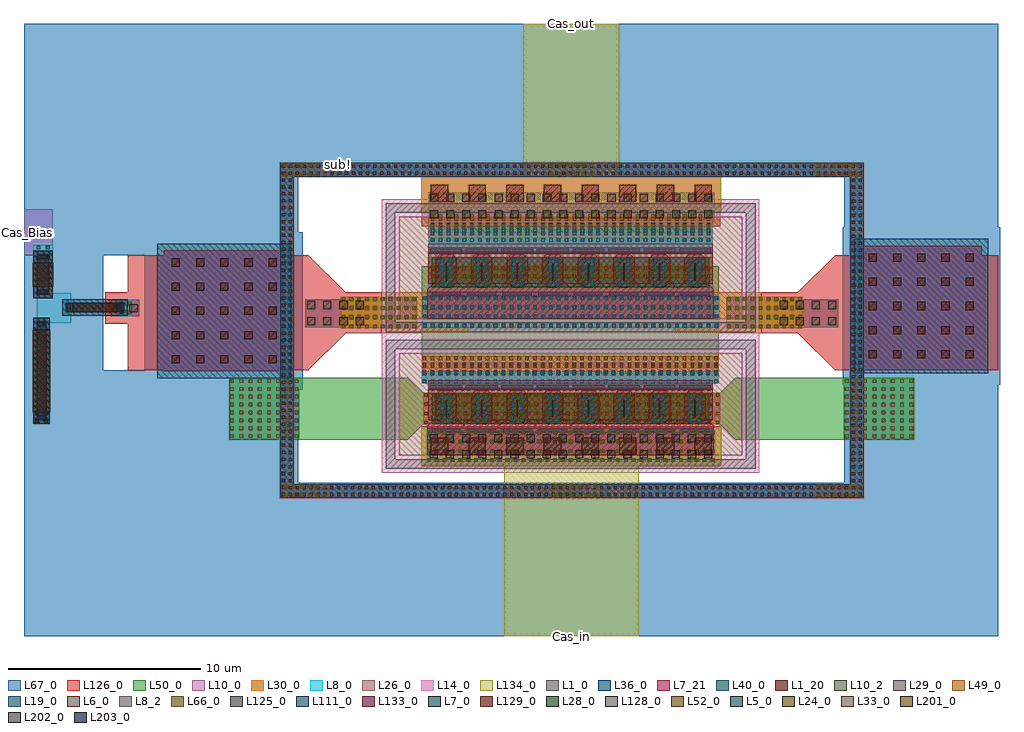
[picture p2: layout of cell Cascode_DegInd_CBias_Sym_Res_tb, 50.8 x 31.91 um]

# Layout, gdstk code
from math import pi, radians
import gdstk
lib = gdstk.Library(unit=1e-6, precision=1e-09)
def R(c, l, rs):  # rectangles x0, y0, x1, y1
    for r in rs: c.add(gdstk.rectangle(r[:2], r[2:], *l))
def A(c, l, x, y, w, h, nx, ny, dx, dy):  # array of equal rectangles
    R(c, l, [(x+i*dx, y+j*dy, x+i*dx+w, y+j*dy+h) for i in range(nx) for j in range(ny)])
def P(c, l, *ps):  # polygons
    for p in ps: c.add(gdstk.Polygon(p, *l))
L1_0 = (1, 0)
L1_20 = (1, 20)
L5_0 = (5, 0)
L6_0 = (6, 0)
L7_0 = (7, 0)
L7_21 = (7, 21)
L8_0 = (8, 0)
L8_2 = (8, 2)
L10_0 = (10, 0)
L10_2 = (10, 2)
L14_0 = (14, 0)
L19_0 = (19, 0)
L24_0 = (24, 0)
L26_0 = (26, 0)
L28_0 = (28, 0)
L29_0 = (29, 0)
L30_0 = (30, 0)
L33_0 = (33, 0)
L36_0 = (36, 0)
L40_0 = (40, 0)
L49_0 = (49, 0)
L50_0 = (50, 0)
L52_0 = (52, 0)
L66_0 = (66, 0)
L67_0 = (67, 0)
L111_0 = (111, 0)
L125_0 = (125, 0)
L126_0 = (126, 0)
L128_0 = (128, 0)
L129_0 = (129, 0)
L133_0 = (133, 0)
L134_0 = (134, 0)
L201_0 = (201, 0)
L202_0 = (202, 0)
L203_0 = (203, 0)

npn13g2 = lib.new_cell('npn13G2')
A(npn13g2, L1_0, -0.925, 0.98, 1.85, 0.3, 8, 1, 1.85, 0)
P(npn13g2, L1_0, [(-3.15,-3.13),(-3.15,3.58),(15.6,3.58),(15.6,3.08),(-2.65,3.08),(-2.65,-2.63),(15.6,-2.63),(15.6,3.58),(16.1,3.58),(16.1,-3.13)])
P(npn13g2, L1_20, [(-0.235,-0.83),(-0.445,-0.62),(-0.925,-0.62),(-0.925,0.98),(0.925,0.98),(0.925,-0.62),(0.445,-0.62),(0.235,-0.83)],
  [(1.615,-0.83),(1.405,-0.62),(0.925,-0.62),(0.925,0.98),(2.775,0.98),(2.775,-0.62),(2.295,-0.62),(2.085,-0.83)],
  [(3.465,-0.83),(3.255,-0.62),(2.775,-0.62),(2.775,0.98),(4.625,0.98),(4.625,-0.62),(4.145,-0.62),(3.935,-0.83)],
  [(5.315,-0.83),(5.105,-0.62),(4.625,-0.62),(4.625,0.98),(6.475,0.98),(6.475,-0.62),(5.995,-0.62),(5.785,-0.83)],
  [(7.165,-0.83),(6.955,-0.62),(6.475,-0.62),(6.475,0.98),(8.325,0.98),(8.325,-0.62),(7.845,-0.62),(7.635,-0.83)],
  [(9.015,-0.83),(8.805,-0.62),(8.325,-0.62),(8.325,0.98),(10.175,0.98),(10.175,-0.62),(9.695,-0.62),(9.485,-0.83)],
  [(10.865,-0.83),(10.655,-0.62),(10.175,-0.62),(10.175,0.98),(12.025,0.98),(12.025,-0.62),(11.545,-0.62),(11.335,-0.83)],
  [(12.715,-0.83),(12.505,-0.62),(12.025,-0.62),(12.025,0.98),(13.875,0.98),(13.875,-0.62),(13.395,-0.62),(13.185,-0.83)])
A(npn13g2, L6_0, -0.76, -1.22, 1.52, 0.16, 8, 1, 1.85, 0)
A(npn13g2, L6_0, -0.825, 1.05, 1.65, 0.16, 8, 1, 1.85, 0)
P(npn13g2, L7_21, [(-0.975,-2.43),(-0.975,-0.9),(-0.555,-0.48),(-0.555,0.69),(-0.305,0.94),(0.305,0.94),(0.555,0.69),(0.555,-0.48),(0.975,-0.9),(0.975,-2.43)],
  [(0.875,-2.43),(0.875,-0.9),(1.295,-0.48),(1.295,0.69),(1.545,0.94),(2.155,0.94),(2.405,0.69),(2.405,-0.48),(2.825,-0.9),(2.825,-2.43)],
  [(2.725,-2.43),(2.725,-0.9),(3.145,-0.48),(3.145,0.69),(3.395,0.94),(4.005,0.94),(4.255,0.69),(4.255,-0.48),(4.675,-0.9),(4.675,-2.43)],
  [(4.575,-2.43),(4.575,-0.9),(4.995,-0.48),(4.995,0.69),(5.245,0.94),(5.855,0.94),(6.105,0.69),(6.105,-0.48),(6.525,-0.9),(6.525,-2.43)],
  [(6.425,-2.43),(6.425,-0.9),(6.845,-0.48),(6.845,0.69),(7.095,0.94),(7.705,0.94),(7.955,0.69),(7.955,-0.48),(8.375,-0.9),(8.375,-2.43)],
  [(8.275,-2.43),(8.275,-0.9),(8.695,-0.48),(8.695,0.69),(8.945,0.94),(9.555,0.94),(9.805,0.69),(9.805,-0.48),(10.225,-0.9),(10.225,-2.43)],
  [(10.125,-2.43),(10.125,-0.9),(10.545,-0.48),(10.545,0.69),(10.795,0.94),(11.405,0.94),(11.655,0.69),(11.655,-0.48),(12.075,-0.9),(12.075,-2.43)],
  [(11.975,-2.43),(11.975,-0.9),(12.395,-0.48),(12.395,0.69),(12.645,0.94),(13.255,0.94),(13.505,0.69),(13.505,-0.48),(13.925,-0.9),(13.925,-2.43)])
A(npn13g2, L8_0, -0.35, -0.785, 0.7, 1.555, 8, 1, 1.85, 0)
R(npn13g2, L8_0, [(-0.975,-1.26,13.925,-1.02), (-0.925,1.02,13.875,1.46)])
R(npn13g2, L8_2, [(-0.975,-1.26,13.925,-1.02), (-0.925,1.02,13.875,1.46)])
R(npn13g2, L10_0, [(-0.925,-0.785,13.875,0.77)])
R(npn13g2, L10_2, [(-0.745,-0.785,13.695,0.77)])
P(npn13g2, L14_0, [(-3.35,-3.33),(-3.35,3.78),(15.4,3.78),(15.4,2.88),(-2.45,2.88),(-2.45,-2.43),(15.4,-2.43),(15.4,3.78),(16.3,3.78),(16.3,-3.33)])
A(npn13g2, L19_0, -0.3, -0.72, 0.19, 0.19, 1, 4, 0, 0.41)
A(npn13g2, L19_0, 0.11, -0.72, 0.19, 0.19, 1, 4, 0, 0.41)
A(npn13g2, L19_0, 1.55, -0.72, 0.19, 0.19, 1, 4, 0, 0.41)
A(npn13g2, L19_0, 1.96, -0.72, 0.19, 0.19, 1, 4, 0, 0.41)
A(npn13g2, L19_0, 3.4, -0.72, 0.19, 0.19, 1, 4, 0, 0.41)
A(npn13g2, L19_0, 3.81, -0.72, 0.19, 0.19, 1, 4, 0, 0.41)
A(npn13g2, L19_0, 5.25, -0.72, 0.19, 0.19, 1, 4, 0, 0.41)
A(npn13g2, L19_0, 5.66, -0.72, 0.19, 0.19, 1, 4, 0, 0.41)
A(npn13g2, L19_0, 7.1, -0.72, 0.19, 0.19, 1, 4, 0, 0.41)
A(npn13g2, L19_0, 7.51, -0.72, 0.19, 0.19, 1, 4, 0, 0.41)
A(npn13g2, L19_0, 8.95, -0.72, 0.19, 0.19, 1, 4, 0, 0.41)
A(npn13g2, L19_0, 9.36, -0.72, 0.19, 0.19, 1, 4, 0, 0.41)
A(npn13g2, L19_0, 10.8, -0.72, 0.19, 0.19, 1, 4, 0, 0.41)
A(npn13g2, L19_0, 11.21, -0.72, 0.19, 0.19, 1, 4, 0, 0.41)
A(npn13g2, L19_0, 12.65, -0.72, 0.19, 0.19, 1, 4, 0, 0.41)
A(npn13g2, L19_0, 13.06, -0.72, 0.19, 0.19, 1, 4, 0, 0.41)
R(npn13g2, L26_0, [(-2.45,-2.43,15.4,2.88)])
A(npn13g2, L33_0, -0.035, -0.45, 0.07, 0.9, 8, 1, 1.85, 0)
npn13g2.add(gdstk.Label('npn13G2', (0.015,2.31), layer=63, texttype=0))
npn13g2.add(gdstk.Label('C', (6.475,1.24), layer=63, texttype=0))
npn13g2.add(gdstk.Label('B', (6.475,-1.14), layer=63, texttype=0))
npn13g2.add(gdstk.Label('E', (6.475,-0.007), layer=63, texttype=0))
npn13g2.add(gdstk.Label('Ae=8*1*0.07*0.90', (-1.977,-2.546), layer=63, texttype=0))

cmim = lib.new_cell('cmim')
R(cmim, L36_0, [(0,0,6.99,6.99)])
R(cmim, L67_0, [(-0.6,-0.6,7.59,7.59)])
R(cmim, L126_0, [(0.345,0.345,6.645,6.645)])
A(cmim, L129_0, 0.765, 0.765, 0.42, 0.42, 5, 5, 1.26, 1.26)

rhigh_cdns_785835985924 = lib.new_cell('rhigh_CDNS_785835985924')
R(rhigh_cdns_785835985924, L5_0, [(0,-0.43,0.655,0), (0,1.245,0.655,1.675)])
R(rhigh_cdns_785835985924, L6_0, [(0.07,-0.36,0.585,-0.2), (0.07,1.445,0.585,1.605)])
R(rhigh_cdns_785835985924, L7_0, [(-0.18,-0.61,0.835,0.18), (-0.18,0,0.835,1.245), (-0.18,0,0.835,1.245), (-0.18,1.065,0.835,1.855)])
R(rhigh_cdns_785835985924, L8_0, [(0.02,-0.41,0.635,-0.15), (0.02,1.395,0.635,1.655)])
R(rhigh_cdns_785835985924, L8_2, [(0.02,-0.41,0.635,-0.15), (0.02,1.395,0.635,1.655)])
R(rhigh_cdns_785835985924, L14_0, [(-0.18,-0.61,0.835,0.18), (-0.18,0,0.835,1.245), (-0.18,0,0.835,1.245), (-0.18,1.065,0.835,1.855)])
R(rhigh_cdns_785835985924, L28_0, [(-0.2,0,0.855,1.245)])
R(rhigh_cdns_785835985924, L52_0, [(0,0,0.655,1.245)])
R(rhigh_cdns_785835985924, L111_0, [(-0.18,-0.61,0.835,0.18), (-0.2,0,0.855,1.245), (-0.18,1.065,0.835,1.855)])
R(rhigh_cdns_785835985924, L128_0, [(0,0,0.655,1.245)])
rhigh_cdns_785835985924.add(gdstk.Label('rhigh r=2.997k', (0.328,0.622), layer=63, texttype=0))
rhigh_cdns_785835985924.add(gdstk.Label('rhigh', (0.328,0.622), layer=52, texttype=0))

m4_m3_cdns_7858359859231 = lib.new_cell('M4_M3_CDNS_7858359859231')
R(m4_m3_cdns_7858359859231, L30_0, [(-0.35,-0.43,0.35,0.43)])
R(m4_m3_cdns_7858359859231, L49_0, [(-0.3,-0.335,-0.11,-0.145), (0.11,-0.335,0.3,-0.145), (-0.3,0.145,-0.11,0.335), (0.11,0.145,0.3,0.335)])
R(m4_m3_cdns_7858359859231, L50_0, [(-0.35,-0.43,0.35,0.43)])

tm1_m5_cdns_785835985920 = lib.new_cell('TM1_M5_CDNS_785835985920')
R(tm1_m5_cdns_785835985920, L67_0, [(-7.45,-0.73,7.45,0.73)])
A(tm1_m5_cdns_785835985920, L125_0, -7.35, -0.63, 0.42, 0.42, 18, 2, 0.84, 0.84)
R(tm1_m5_cdns_785835985920, L126_0, [(-7.77,-1.05,7.77,1.05)])

m5_m4_cdns_785835985921 = lib.new_cell('M5_M4_CDNS_785835985921')
R(m5_m4_cdns_785835985921, L50_0, [(-1.825,-1.535,1.825,1.535)])
A(m5_m4_cdns_785835985921, L66_0, -1.775, -1.53, 0.19, 0.19, 8, 8, 0.48, 0.41)
R(m5_m4_cdns_785835985921, L67_0, [(-1.825,-1.535,1.825,1.535)])

m4_m3_cdns_785835985922 = lib.new_cell('M4_M3_CDNS_785835985922')
R(m4_m3_cdns_785835985922, L30_0, [(-7.73,-0.305,7.73,0.305)])
A(m4_m3_cdns_785835985922, L49_0, -7.68, -0.3, 0.19, 0.19, 38, 2, 0.41, 0.41)
R(m4_m3_cdns_785835985922, L50_0, [(-7.73,-0.305,7.73,0.305)])

m3_m2_cdns_785835985923 = lib.new_cell('M3_M2_CDNS_785835985923')
R(m3_m2_cdns_785835985923, L10_0, [(-7.73,-0.305,7.73,0.305)])
A(m3_m2_cdns_785835985923, L29_0, -7.68, -0.3, 0.19, 0.19, 38, 2, 0.41, 0.41)
R(m3_m2_cdns_785835985923, L30_0, [(-7.73,-0.305,7.73,0.305)])

m2_m1_cdns_785835985924 = lib.new_cell('M2_M1_CDNS_785835985924')
R(m2_m1_cdns_785835985924, L8_0, [(-7.73,-0.31,7.73,0.31)])
R(m2_m1_cdns_785835985924, L10_0, [(-7.73,-0.305,7.73,0.305)])
A(m2_m1_cdns_785835985924, L19_0, -7.68, -0.3, 0.19, 0.19, 38, 2, 0.41, 0.41)

tm2_tm1_cdns_78583598592 = lib.new_cell('TM2_TM1_CDNS_785835985925')
R(tm2_tm1_cdns_78583598592, L126_0, [(-7.81,-0.95,7.81,0.95)])
A(tm2_tm1_cdns_78583598592, L133_0, -7.31, -0.45, 0.9, 0.9, 8, 1, 1.96, 0)
R(tm2_tm1_cdns_78583598592, L134_0, [(-7.81,-1,7.81,1)])

m5_m4_cdns_785835985926 = lib.new_cell('M5_M4_CDNS_785835985926')
R(m5_m4_cdns_785835985926, L50_0, [(-7.525,-0.82,7.525,0.82)])
A(m5_m4_cdns_785835985926, L66_0, -7.475, -0.815, 0.19, 0.19, 37, 4, 0.41, 0.48)
R(m5_m4_cdns_785835985926, L67_0, [(-7.525,-0.82,7.525,0.82)])

m4_m3_cdns_785835985927 = lib.new_cell('M4_M3_CDNS_785835985927')
R(m4_m3_cdns_785835985927, L30_0, [(-7.73,-0.82,7.73,0.82)])
A(m4_m3_cdns_785835985927, L49_0, -7.68, -0.815, 0.19, 0.19, 38, 4, 0.41, 0.48)
R(m4_m3_cdns_785835985927, L50_0, [(-7.73,-0.82,7.73,0.82)])

m3_m2_cdns_785835985928 = lib.new_cell('M3_M2_CDNS_785835985928')
R(m3_m2_cdns_785835985928, L10_0, [(-7.73,-0.82,7.73,0.82)])
A(m3_m2_cdns_785835985928, L29_0, -7.68, -0.815, 0.19, 0.19, 38, 4, 0.41, 0.48)
R(m3_m2_cdns_785835985928, L30_0, [(-7.73,-0.82,7.73,0.82)])

m3_m2_cdns_785835985929 = lib.new_cell('M3_M2_CDNS_785835985929')
R(m3_m2_cdns_785835985929, L10_0, [(-7.395,-0.305,7.395,0.305)])
A(m3_m2_cdns_785835985929, L29_0, -7.27, -0.3, 0.19, 0.19, 36, 2, 0.41, 0.41)
R(m3_m2_cdns_785835985929, L30_0, [(-7.395,-0.305,7.395,0.305)])

m2_m1_cdns_7858359859210 = lib.new_cell('M2_M1_CDNS_7858359859210')
R(m2_m1_cdns_7858359859210, L8_0, [(-7.73,-0.825,7.73,0.825)])
R(m2_m1_cdns_7858359859210, L10_0, [(-7.73,-0.82,7.73,0.82)])
A(m2_m1_cdns_7858359859210, L19_0, -7.68, -0.815, 0.19, 0.19, 38, 4, 0.41, 0.48)

m4_m3_cdns_7858359859211 = lib.new_cell('M4_M3_CDNS_7858359859211')
R(m4_m3_cdns_7858359859211, L30_0, [(-7.395,-0.305,7.395,0.305)])
A(m4_m3_cdns_7858359859211, L49_0, -7.27, -0.3, 0.19, 0.19, 36, 2, 0.41, 0.41)
R(m4_m3_cdns_7858359859211, L50_0, [(-7.395,-0.305,7.395,0.305)])

m2_m1_cdns_7858359859212 = lib.new_cell('M2_M1_CDNS_7858359859212')
R(m2_m1_cdns_7858359859212, L8_0, [(-7.395,-0.475,7.395,0.475)])
R(m2_m1_cdns_7858359859212, L10_0, [(-7.395,-0.475,7.395,0.475)])
A(m2_m1_cdns_7858359859212, L19_0, -7.27, -0.335, 0.19, 0.19, 36, 2, 0.41, 0.48)

m3_m2_cdns_7858359859213 = lib.new_cell('M3_M2_CDNS_7858359859213')
R(m3_m2_cdns_7858359859213, L10_0, [(-7.395,-0.475,7.395,0.475)])
A(m3_m2_cdns_7858359859213, L29_0, -7.27, -0.335, 0.19, 0.19, 36, 2, 0.41, 0.48)
R(m3_m2_cdns_7858359859213, L30_0, [(-7.395,-0.475,7.395,0.475)])

m4_m3_cdns_7858359859214 = lib.new_cell('M4_M3_CDNS_7858359859214')
R(m4_m3_cdns_7858359859214, L30_0, [(-7.525,-0.82,7.525,0.82)])
A(m4_m3_cdns_7858359859214, L49_0, -7.475, -0.815, 0.19, 0.19, 37, 4, 0.41, 0.48)
R(m4_m3_cdns_7858359859214, L50_0, [(-7.525,-0.82,7.525,0.82)])

m3_m2_cdns_7858359859215 = lib.new_cell('M3_M2_CDNS_7858359859215')
R(m3_m2_cdns_7858359859215, L10_0, [(-7.525,-0.82,7.525,0.82)])
A(m3_m2_cdns_7858359859215, L29_0, -7.475, -0.815, 0.19, 0.19, 37, 4, 0.41, 0.48)
R(m3_m2_cdns_7858359859215, L30_0, [(-7.525,-0.82,7.525,0.82)])

m2_m1_cdns_7858359859216 = lib.new_cell('M2_M1_CDNS_7858359859216')
R(m2_m1_cdns_7858359859216, L8_0, [(-7.525,-0.825,7.525,0.825)])
R(m2_m1_cdns_7858359859216, L10_0, [(-7.525,-0.82,7.525,0.82)])
A(m2_m1_cdns_7858359859216, L19_0, -7.475, -0.815, 0.19, 0.19, 37, 4, 0.41, 0.48)

m4_m3_cdns_7858359859217 = lib.new_cell('M4_M3_CDNS_7858359859217')
R(m4_m3_cdns_7858359859217, L30_0, [(-7.395,-0.475,7.395,0.475)])
A(m4_m3_cdns_7858359859217, L49_0, -7.27, -0.335, 0.19, 0.19, 36, 2, 0.41, 0.48)
R(m4_m3_cdns_7858359859217, L50_0, [(-7.395,-0.475,7.395,0.475)])

m5_m4_cdns_7858359859218 = lib.new_cell('M5_M4_CDNS_7858359859218')
R(m5_m4_cdns_7858359859218, L50_0, [(-1.99,-0.82,1.99,0.82)])
A(m5_m4_cdns_7858359859218, L66_0, -1.94, -0.815, 0.19, 0.19, 10, 4, 0.41, 0.48)
R(m5_m4_cdns_7858359859218, L67_0, [(-1.99,-0.82,1.99,0.82)])

m4_m3_cdns_7858359859219 = lib.new_cell('M4_M3_CDNS_7858359859219')
R(m4_m3_cdns_7858359859219, L30_0, [(-1.99,-0.82,1.99,0.82)])
A(m4_m3_cdns_7858359859219, L49_0, -1.94, -0.815, 0.19, 0.19, 10, 4, 0.41, 0.48)
R(m4_m3_cdns_7858359859219, L50_0, [(-1.99,-0.82,1.99,0.82)])

tm1_m5_cdns_785835985922 = lib.new_cell('TM1_M5_CDNS_7858359859220')
R(tm1_m5_cdns_785835985922, L67_0, [(-1.57,-0.73,1.57,0.73)])
A(tm1_m5_cdns_785835985922, L125_0, -1.47, -0.63, 0.42, 0.42, 4, 2, 0.84, 0.84)
R(tm1_m5_cdns_785835985922, L126_0, [(-1.89,-1.05,1.89,1.05)])

m5_m4_cdns_7858359859221 = lib.new_cell('M5_M4_CDNS_7858359859221')
R(m5_m4_cdns_7858359859221, L50_0, [(-7.395,-0.475,7.395,0.475)])
A(m5_m4_cdns_7858359859221, L66_0, -7.27, -0.335, 0.19, 0.19, 36, 2, 0.41, 0.48)
R(m5_m4_cdns_7858359859221, L67_0, [(-7.395,-0.475,7.395,0.475)])

m5_m4_cdns_7858359859222 = lib.new_cell('M5_M4_CDNS_7858359859222')
R(m5_m4_cdns_7858359859222, L50_0, [(-0.35,-0.425,0.35,0.435)])
R(m5_m4_cdns_7858359859222, L66_0, [(-0.3,-0.335,-0.11,-0.145), (0.11,-0.335,0.3,-0.145), (-0.3,0.145,-0.11,0.335), (0.11,0.145,0.3,0.335)])
R(m5_m4_cdns_7858359859222, L67_0, [(-0.73,-0.425,0.73,0.435)])

m4_m3_cdns_7858359859223 = lib.new_cell('M4_M3_CDNS_7858359859223')
R(m4_m3_cdns_7858359859223, L30_0, [(-0.35,-0.425,0.35,0.435)])
R(m4_m3_cdns_7858359859223, L49_0, [(-0.3,-0.335,-0.11,-0.145), (0.11,-0.335,0.3,-0.145), (-0.3,0.145,-0.11,0.335), (0.11,0.145,0.3,0.335)])
R(m4_m3_cdns_7858359859223, L50_0, [(-0.35,-0.425,0.35,0.435)])

m2_m1_cdns_7858359859224 = lib.new_cell('M2_M1_CDNS_7858359859224')
R(m2_m1_cdns_7858359859224, L8_0, [(-0.35,-0.425,0.35,0.435)])
R(m2_m1_cdns_7858359859224, L10_0, [(-0.35,-0.425,0.35,0.435)])
R(m2_m1_cdns_7858359859224, L19_0, [(-0.3,-0.335,-0.11,-0.145), (0.11,-0.335,0.3,-0.145), (-0.3,0.145,-0.11,0.335), (0.11,0.145,0.3,0.335)])

m3_m2_cdns_7858359859225 = lib.new_cell('M3_M2_CDNS_7858359859225')
R(m3_m2_cdns_7858359859225, L10_0, [(-0.35,-0.425,0.35,0.435)])
R(m3_m2_cdns_7858359859225, L29_0, [(-0.3,-0.335,-0.11,-0.145), (0.11,-0.335,0.3,-0.145), (-0.3,0.145,-0.11,0.335), (0.11,0.145,0.3,0.335)])
R(m3_m2_cdns_7858359859225, L30_0, [(-0.35,-0.425,0.35,0.435)])

c_tm1_m5_cdns_785835985922 = lib.new_cell('TM1_M5_CDNS_7858359859226')
R(c_tm1_m5_cdns_785835985922, L67_0, [(-0.73,-0.425,0.73,0.435)])
R(c_tm1_m5_cdns_785835985922, L125_0, [(-0.63,-0.21,-0.21,0.21), (0.21,-0.21,0.63,0.21)])
R(c_tm1_m5_cdns_785835985922, L126_0, [(-1.05,-0.82,1.05,0.82)])

m3_m2_cdns_7858359859230 = lib.new_cell('M3_M2_CDNS_7858359859230')
R(m3_m2_cdns_7858359859230, L10_0, [(-0.35,-0.43,0.35,0.43)])
R(m3_m2_cdns_7858359859230, L29_0, [(-0.3,-0.335,-0.11,-0.145), (0.11,-0.335,0.3,-0.145), (-0.3,0.145,-0.11,0.335), (0.11,0.145,0.3,0.335)])
R(m3_m2_cdns_7858359859230, L30_0, [(-0.35,-0.43,0.35,0.43)])

m2_m1_cdns_7858359859229 = lib.new_cell('M2_M1_CDNS_7858359859229')
R(m2_m1_cdns_7858359859229, L8_0, [(-0.505,-0.39,0.505,0.39)])
R(m2_m1_cdns_7858359859229, L10_0, [(-0.505,-0.39,0.505,0.39)])
R(m2_m1_cdns_7858359859229, L19_0, [(-0.335,-0.335,-0.145,-0.145), (0.145,-0.335,0.335,-0.145), (-0.335,0.145,-0.145,0.335), (0.145,0.145,0.335,0.335)])

m2_m1_cdns_7858359859228 = lib.new_cell('M2_M1_CDNS_7858359859228')
R(m2_m1_cdns_7858359859228, L8_0, [(-0.35,-0.43,0.35,0.43)])
R(m2_m1_cdns_7858359859228, L10_0, [(-0.35,-0.43,0.35,0.43)])
R(m2_m1_cdns_7858359859228, L19_0, [(-0.3,-0.335,-0.11,-0.145), (0.11,-0.335,0.3,-0.145), (-0.3,0.145,-0.11,0.335), (0.11,0.145,0.3,0.335)])

m5_m4_cdns_7858359859227 = lib.new_cell('M5_M4_CDNS_7858359859227')
R(m5_m4_cdns_7858359859227, L50_0, [(-0.35,-0.43,0.35,0.43)])
R(m5_m4_cdns_7858359859227, L66_0, [(-0.3,-0.335,-0.11,-0.145), (0.11,-0.335,0.3,-0.145), (-0.3,0.145,-0.11,0.335), (0.11,0.145,0.3,0.335)])
R(m5_m4_cdns_7858359859227, L67_0, [(-0.35,-0.43,0.35,0.43)])

rsil_cdns_785835985925 = lib.new_cell('rsil_CDNS_785835985925')
R(rsil_cdns_785835985925, L5_0, [(0,-0.35,0.5,0), (0,2.33,0.5,2.68)])
R(rsil_cdns_785835985925, L6_0, [(0.07,-0.28,0.43,-0.12), (0.07,2.45,0.43,2.61)])
R(rsil_cdns_785835985925, L8_0, [(0.02,-0.33,0.48,-0.07), (0.02,2.4,0.48,2.66)])
R(rsil_cdns_785835985925, L8_2, [(0.02,-0.33,0.48,-0.07), (0.02,2.4,0.48,2.66)])
R(rsil_cdns_785835985925, L24_0, [(0,0,0.5,2.33)])
R(rsil_cdns_785835985925, L52_0, [(0,0,0.5,2.33)])
R(rsil_cdns_785835985925, L111_0, [(-0.18,-0.53,0.68,0), (-0.18,0,0.68,2.86), (-0.18,0,0.68,2.33)])
R(rsil_cdns_785835985925, L128_0, [(0,0,0.5,2.33)])
rsil_cdns_785835985925.add(gdstk.Label('rsil r=49.98', (0.25,1.165), layer=63, texttype=0))
rsil_cdns_785835985925.add(gdstk.Label('rsil', (0.25,1.165), layer=52, texttype=0))

m2_m1_cdns_7858359859232 = lib.new_cell('M2_M1_CDNS_7858359859232')
R(m2_m1_cdns_7858359859232, L8_0, [(-1.325,-0.36,1.325,0.36)])
R(m2_m1_cdns_7858359859232, L10_0, [(-1.325,-0.36,1.325,0.36)])
A(m2_m1_cdns_7858359859232, L19_0, -1.12, -0.335, 0.19, 0.19, 6, 2, 0.41, 0.48)

m5_m4_cdns_7858359859233 = lib.new_cell('M5_M4_CDNS_7858359859233')
R(m5_m4_cdns_7858359859233, L50_0, [(-1.325,-0.36,1.325,0.36)])
A(m5_m4_cdns_7858359859233, L66_0, -1.12, -0.335, 0.19, 0.19, 6, 2, 0.41, 0.48)
R(m5_m4_cdns_7858359859233, L67_0, [(-1.325,-0.36,1.325,0.36)])

m4_m3_cdns_7858359859234 = lib.new_cell('M4_M3_CDNS_7858359859234')
R(m4_m3_cdns_7858359859234, L30_0, [(-1.325,-0.36,1.325,0.36)])
A(m4_m3_cdns_7858359859234, L49_0, -1.12, -0.335, 0.19, 0.19, 6, 2, 0.41, 0.48)
R(m4_m3_cdns_7858359859234, L50_0, [(-1.325,-0.36,1.325,0.36)])

m3_m2_cdns_7858359859235 = lib.new_cell('M3_M2_CDNS_7858359859235')
R(m3_m2_cdns_7858359859235, L10_0, [(-1.325,-0.36,1.325,0.36)])
A(m3_m2_cdns_7858359859235, L29_0, -1.12, -0.335, 0.19, 0.19, 6, 2, 0.41, 0.48)
R(m3_m2_cdns_7858359859235, L30_0, [(-1.325,-0.36,1.325,0.36)])

rhigh_cdns_785835985923 = lib.new_cell('rhigh_CDNS_785835985923')
R(rhigh_cdns_785835985923, L5_0, [(0,-0.43,0.5,0), (0,4.29,0.5,4.72)])
R(rhigh_cdns_785835985923, L6_0, [(0.07,-0.36,0.43,-0.2), (0.07,4.49,0.43,4.65)])
R(rhigh_cdns_785835985923, L7_0, [(-0.18,-0.61,0.68,0.18), (-0.18,0,0.68,4.29), (-0.18,0,0.68,4.29), (-0.18,4.11,0.68,4.9)])
R(rhigh_cdns_785835985923, L8_0, [(0.02,-0.41,0.48,-0.15), (0.02,4.44,0.48,4.7)])
R(rhigh_cdns_785835985923, L8_2, [(0.02,-0.41,0.48,-0.15), (0.02,4.44,0.48,4.7)])
R(rhigh_cdns_785835985923, L14_0, [(-0.18,-0.61,0.68,0.18), (-0.18,0,0.68,4.29), (-0.18,0,0.68,4.29), (-0.18,4.11,0.68,4.9)])
R(rhigh_cdns_785835985923, L28_0, [(-0.2,0,0.7,4.29)])
R(rhigh_cdns_785835985923, L52_0, [(0,0,0.5,4.29)])
R(rhigh_cdns_785835985923, L111_0, [(-0.18,-0.61,0.68,0.18), (-0.2,0,0.7,4.29), (-0.18,4.11,0.68,4.9)])
R(rhigh_cdns_785835985923, L128_0, [(0,0,0.5,4.29)])
rhigh_cdns_785835985923.add(gdstk.Label('rhigh r=13.003k', (0.25,2.145), layer=63, texttype=0))
rhigh_cdns_785835985923.add(gdstk.Label('rhigh', (0.25,2.145), layer=52, texttype=0))

cascode_degind_cbias_sym = lib.new_cell('Cascode_DegInd_CBias_Sym_Res_tb')
A(cascode_degind_cbias_sym, L6_0, -15.78, -3.965, 0.16, 0.16, 54, 1, 0.36, 0)
A(cascode_degind_cbias_sym, L6_0, 3.665, -3.965, 0.16, 0.16, 30, 1, 0.365, 0)
A(cascode_degind_cbias_sym, L6_0, -15.42, -3.605, 0.16, 0.16, 52, 1, 0.36, 0)
A(cascode_degind_cbias_sym, L6_0, 3.305, -3.605, 0.16, 0.16, 30, 1, 0.365, 0)
A(cascode_degind_cbias_sym, L6_0, 14.25, -3.605, 0.16, 0.16, 1, 14, 0, 0.36)
A(cascode_degind_cbias_sym, L6_0, -15.78, -3.6, 0.16, 0.16, 1, 33, 0, 0.365)
A(cascode_degind_cbias_sym, L6_0, 13.89, -3.245, 0.16, 0.16, 1, 12, 0, 0.36)
A(cascode_degind_cbias_sym, L6_0, -15.42, -3.24, 0.16, 0.16, 1, 33, 0, 0.365)
A(cascode_degind_cbias_sym, L6_0, 13.89, 1.08, 0.16, 0.16, 1, 32, 0, 0.365)
A(cascode_degind_cbias_sym, L6_0, 14.25, 1.44, 0.16, 0.16, 1, 32, 0, 0.365)
A(cascode_degind_cbias_sym, L6_0, -15.78, 8.44, 0.16, 0.16, 1, 13, 0, 0.36)
A(cascode_degind_cbias_sym, L6_0, -15.42, 8.8, 0.16, 0.16, 1, 11, 0, 0.36)
A(cascode_degind_cbias_sym, L6_0, -15.42, 12.76, 0.16, 0.16, 38, 1, 0.365, 0)
A(cascode_degind_cbias_sym, L6_0, -1.555, 12.76, 0.16, 0.16, 3, 1, 0.36, 0)
A(cascode_degind_cbias_sym, L6_0, -0.465, 12.76, 0.16, 0.16, 25, 1, 0.37, 0)
A(cascode_degind_cbias_sym, L6_0, 8.78, 12.76, 0.16, 0.16, 15, 1, 0.365, 0)
A(cascode_degind_cbias_sym, L6_0, -15.78, 13.12, 0.16, 0.16, 38, 1, 0.365, 0)
A(cascode_degind_cbias_sym, L6_0, -1.915, 13.12, 0.16, 0.16, 4, 1, 0.36, 0)
A(cascode_degind_cbias_sym, L6_0, -0.465, 13.12, 0.16, 0.16, 24, 1, 0.37, 0)
A(cascode_degind_cbias_sym, L6_0, 8.41, 13.12, 0.16, 0.16, 17, 1, 0.365, 0)
R(cascode_degind_cbias_sym, L8_0, [(-28.53,5.05,-26.745,6.59), (-24.275,5.39,-23.575,6.255)])
R(cascode_degind_cbias_sym, L10_0, [(-24.275,5.39,-23.575,6.255), (-24.275,5.39,-23.575,6.255), (-29.205,8.57,-27.705,10.97)])
R(cascode_degind_cbias_sym, L30_0, [(-10.58,4.51,-6.07,6.63), (4.67,4.51,9.18,6.63), (-24.275,5.39,-23.575,6.255), (-24.275,5.39,-23.575,6.255)])
R(cascode_degind_cbias_sym, L50_0, [(16.2,-0.895,16.22,-0.845), (-8.5,3.3,6.96,7.99), (-24.275,5.39,-23.575,6.255), (-24.275,5.39,-23.575,6.255)])
P(cascode_degind_cbias_sym, L50_0, [(7.825,-1.035),(7.03,-0.24),(7.03,1.4),(7.825,2.195),(17.13,2.195),(17.13,-1.035)],
  [(-18.53,-1.03),(-18.53,2.2),(-9.23,2.2),(-8.43,1.4),(-8.43,-0.24),(-9.22,-1.03)])
R(cascode_degind_cbias_sym, L67_0, [(-29.185,-11.275,-22.925,2.57), (-29.185,2.57,-25.08,8.57), (-24.655,5.39,-23.195,6.255), (-24.655,5.39,-23.195,6.255), (-29.205,8.57,-22.92,12.63)])
R(cascode_degind_cbias_sym, L126_0, [(-12.47,4.51,-10.58,6.63), (9.18,4.51,11.07,6.63)])
P(cascode_degind_cbias_sym, L126_0, [(-23.815,2.57),(-23.815,8.57),(-14.41,8.57),(-12.47,6.63),(-12.47,4.51),(-14.41,2.57)],
  [(13.01,2.57),(11.07,4.51),(11.07,6.63),(13.01,8.57),(21.5,8.57),(21.5,2.57)])
R(cascode_degind_cbias_sym, L134_0, [(-4.215,-11.275,2.785,-2.375), (-3.215,12.795,1.785,20.63)])
P(cascode_degind_cbias_sym, L201_0, [(-3.215,20.63),(-3.215,20.63),(1.785,20.63),(1.785,20.63)])
P(cascode_degind_cbias_sym, L202_0, [(-4.215,-11.275),(-4.215,-11.275),(2.785,-11.275),(2.785,-11.275)])
P(cascode_degind_cbias_sym, L203_0, [(-29.205,10.97),(-29.205,10.97),(-27.705,10.97),(-27.705,10.97)])
cascode_degind_cbias_sym.add(gdstk.FlexPath([(-29.205,16.63),(17.5,16.63),(17.5,-7.275),(-18.925,-7.275),(-18.925,12.63)], 8, ends="flush", simple_path=True, layer=67, datatype=0))  # L67_0
cascode_degind_cbias_sym.add(gdstk.FlexPath([(-0.935,13.02),(14.15,13.02),(14.15,-3.705),(-15.52,-3.705),(-15.52,13.02),(-0.935,13.02)], 0.72, ends="flush", simple_path=True, layer=8, datatype=0))  # L8_0
cascode_degind_cbias_sym.add(gdstk.FlexPath([(-0.935,13.02),(14.15,13.02),(14.15,-3.705),(-15.52,-3.705),(-15.52,13.02),(-0.935,13.02)], 0.72, ends="flush", simple_path=True, layer=1, datatype=0))  # L1_0
cascode_degind_cbias_sym.add(gdstk.FlexPath([(-0.935,13.02),(14.15,13.02),(14.15,-3.705),(-15.52,-3.705),(-15.52,13.02),(-0.935,13.02)], 0.78, ends="flush", simple_path=True, layer=14, datatype=0))  # L14_0
cascode_degind_cbias_sym.add(gdstk.FlexPath([(-0.935,13.02),(14.15,13.02),(14.15,-3.705),(-15.52,-3.705),(-15.52,13.02),(-0.935,13.02)], 0.72, ends="flush", simple_path=True, layer=40, datatype=0))  # L40_0
cascode_degind_cbias_sym.add(gdstk.Reference(npn13g2, (-7.23,0.59)))
cascode_degind_cbias_sym.add(gdstk.Reference(cmim, (-22.275,2.175)))
cascode_degind_cbias_sym.add(gdstk.Reference(cmim, (14.005,2.43)))
cascode_degind_cbias_sym.add(gdstk.Reference(rhigh_cdns_785835985924, (-28.55,6.94)))
cascode_degind_cbias_sym.add(gdstk.Reference(m4_m3_cdns_7858359859231, (-28.3,0.125), rotation=pi/2))
cascode_degind_cbias_sym.add(gdstk.Reference(tm1_m5_cdns_785835985920, (-0.725,11.13)))
cascode_degind_cbias_sym.add(gdstk.Reference(tm1_m5_cdns_785835985920, (-0.735,-1.375)))
cascode_degind_cbias_sym.add(gdstk.Reference(m5_m4_cdns_785835985921, (15.295,0.585), rotation=pi, x_reflection=True))
cascode_degind_cbias_sym.add(gdstk.Reference(m5_m4_cdns_785835985921, (-16.695,0.59)))
cascode_degind_cbias_sym.add(gdstk.Reference(m4_m3_cdns_785835985922, (-0.77,3)))
cascode_degind_cbias_sym.add(gdstk.Reference(m3_m2_cdns_785835985923, (-0.77,2.685)))
cascode_degind_cbias_sym.add(gdstk.Reference(m2_m1_cdns_785835985924, (-0.775,2.21)))
cascode_degind_cbias_sym.add(gdstk.Reference(tm2_tm1_cdns_78583598592, (-0.715,11.795)))
cascode_degind_cbias_sym.add(gdstk.Reference(tm2_tm1_cdns_78583598592, (-0.715,-1.375)))
cascode_degind_cbias_sym.add(gdstk.Reference(m5_m4_cdns_785835985926, (-0.75,-1.375)))
cascode_degind_cbias_sym.add(gdstk.Reference(m4_m3_cdns_785835985927, (-0.7,0.58)))
cascode_degind_cbias_sym.add(gdstk.Reference(m3_m2_cdns_785835985928, (-0.7,0.58)))
cascode_degind_cbias_sym.add(gdstk.Reference(m3_m2_cdns_785835985928, (-0.755,5.62)))
cascode_degind_cbias_sym.add(gdstk.Reference(m3_m2_cdns_785835985929, (-0.755,7.685)))
cascode_degind_cbias_sym.add(gdstk.Reference(m2_m1_cdns_7858359859210, (-0.755,5.62)))
cascode_degind_cbias_sym.add(gdstk.Reference(m4_m3_cdns_7858359859211, (-0.755,7.685)))
cascode_degind_cbias_sym.add(gdstk.Reference(m2_m1_cdns_7858359859212, (-0.755,9.605)))
cascode_degind_cbias_sym.add(gdstk.Reference(m3_m2_cdns_7858359859213, (-0.76,9.935)))
cascode_degind_cbias_sym.add(gdstk.Reference(m4_m3_cdns_7858359859214, (-0.75,-1.375)))
cascode_degind_cbias_sym.add(gdstk.Reference(m3_m2_cdns_7858359859215, (-0.75,-1.375)))
cascode_degind_cbias_sym.add(gdstk.Reference(m2_m1_cdns_7858359859216, (-0.75,-1.375)))
cascode_degind_cbias_sym.add(gdstk.Reference(m4_m3_cdns_7858359859217, (-0.76,10.225)))
cascode_degind_cbias_sym.add(gdstk.Reference(m5_m4_cdns_7858359859218, (-10.735,5.58)))
cascode_degind_cbias_sym.add(gdstk.Reference(m5_m4_cdns_7858359859218, (9.335,5.58), rotation=pi, x_reflection=True))
cascode_degind_cbias_sym.add(gdstk.Reference(m4_m3_cdns_7858359859219, (-10.735,5.58)))
cascode_degind_cbias_sym.add(gdstk.Reference(m4_m3_cdns_7858359859219, (9.335,5.58), rotation=pi, x_reflection=True))
cascode_degind_cbias_sym.add(gdstk.Reference(tm1_m5_cdns_785835985922, (-12.995,5.56)))
cascode_degind_cbias_sym.add(gdstk.Reference(tm1_m5_cdns_785835985922, (11.595,5.56), rotation=pi, x_reflection=True))
cascode_degind_cbias_sym.add(gdstk.Reference(m5_m4_cdns_7858359859221, (-0.76,10.365)))
cascode_degind_cbias_sym.add(gdstk.Reference(m5_m4_cdns_7858359859222, (-23.925,5.82)))
cascode_degind_cbias_sym.add(gdstk.Reference(m4_m3_cdns_7858359859223, (-23.925,5.82)))
cascode_degind_cbias_sym.add(gdstk.Reference(m2_m1_cdns_7858359859224, (-23.925,5.82)))
cascode_degind_cbias_sym.add(gdstk.Reference(m3_m2_cdns_7858359859225, (-23.925,5.82)))
cascode_degind_cbias_sym.add(gdstk.Reference(c_tm1_m5_cdns_785835985922, (-23.925,5.82)))
cascode_degind_cbias_sym.add(gdstk.Reference(m3_m2_cdns_7858359859230, (-28.3,0.125), rotation=pi/2))
cascode_degind_cbias_sym.add(gdstk.Reference(m2_m1_cdns_7858359859229, (-28.21,8.73)))
cascode_degind_cbias_sym.add(gdstk.Reference(m2_m1_cdns_7858359859228, (-28.3,0.125), rotation=pi/2))
cascode_degind_cbias_sym.add(gdstk.Reference(m5_m4_cdns_7858359859227, (-28.3,0.125), rotation=pi/2))
cascode_degind_cbias_sym.add(gdstk.Reference(rsil_cdns_785835985925, (-26.675,6.09), rotation=3*pi/2))
cascode_degind_cbias_sym.add(gdstk.Reference(m2_m1_cdns_7858359859232, (-0.695,13.02)))
cascode_degind_cbias_sym.add(gdstk.Reference(m2_m1_cdns_7858359859232, (13.185,-3.705)))
cascode_degind_cbias_sym.add(gdstk.Reference(m2_m1_cdns_7858359859232, (-0.495,-3.705)))
cascode_degind_cbias_sym.add(gdstk.Reference(m2_m1_cdns_7858359859232, (-14.555,-3.705)))
cascode_degind_cbias_sym.add(gdstk.Reference(m2_m1_cdns_7858359859232, (13.185,13.01)))
cascode_degind_cbias_sym.add(gdstk.Reference(m2_m1_cdns_7858359859232, (-14.555,13.02)))
cascode_degind_cbias_sym.add(gdstk.Reference(m5_m4_cdns_7858359859233, (-0.695,13.02)))
cascode_degind_cbias_sym.add(gdstk.Reference(m5_m4_cdns_7858359859233, (-14.555,-3.705)))
cascode_degind_cbias_sym.add(gdstk.Reference(m5_m4_cdns_7858359859233, (13.185,13.01)))
cascode_degind_cbias_sym.add(gdstk.Reference(m5_m4_cdns_7858359859233, (13.185,-3.705)))
cascode_degind_cbias_sym.add(gdstk.Reference(m5_m4_cdns_7858359859233, (-0.495,-3.705)))
cascode_degind_cbias_sym.add(gdstk.Reference(m5_m4_cdns_7858359859233, (-14.555,13.02)))
cascode_degind_cbias_sym.add(gdstk.Reference(m4_m3_cdns_7858359859234, (-0.695,13.02)))
cascode_degind_cbias_sym.add(gdstk.Reference(m4_m3_cdns_7858359859234, (-14.555,-3.705)))
cascode_degind_cbias_sym.add(gdstk.Reference(m4_m3_cdns_7858359859234, (13.185,13.01)))
cascode_degind_cbias_sym.add(gdstk.Reference(m4_m3_cdns_7858359859234, (-0.495,-3.705)))
cascode_degind_cbias_sym.add(gdstk.Reference(m4_m3_cdns_7858359859234, (-14.555,13.02)))
cascode_degind_cbias_sym.add(gdstk.Reference(m4_m3_cdns_7858359859234, (13.185,-3.705)))
cascode_degind_cbias_sym.add(gdstk.Reference(m3_m2_cdns_7858359859235, (-0.695,13.02)))
cascode_degind_cbias_sym.add(gdstk.Reference(m3_m2_cdns_7858359859235, (-14.555,-3.705)))
cascode_degind_cbias_sym.add(gdstk.Reference(m3_m2_cdns_7858359859235, (13.185,-3.705)))
cascode_degind_cbias_sym.add(gdstk.Reference(m3_m2_cdns_7858359859235, (-0.495,-3.705)))
cascode_degind_cbias_sym.add(gdstk.Reference(m3_m2_cdns_7858359859235, (-14.555,13.02)))
cascode_degind_cbias_sym.add(gdstk.Reference(m3_m2_cdns_7858359859235, (13.185,13.01)))
cascode_degind_cbias_sym.add(gdstk.Reference(npn13g2, (-7.23,7.7)))
cascode_degind_cbias_sym.add(gdstk.Reference(rhigh_cdns_785835985923, (-28.55,0.405)))
cascode_degind_cbias_sym.add(gdstk.Label('sub!', (-12.81,13.29), layer=63, texttype=0))
cascode_degind_cbias_sym.add(gdstk.Label('Cas_out', (-0.717,20.63), layer=134, texttype=25))
cascode_degind_cbias_sym.add(gdstk.Label('Cas_in', (-0.703,-11.275), layer=134, texttype=25))
cascode_degind_cbias_sym.add(gdstk.Label('Cas_Bias', (-29.195,9.773), layer=10, texttype=25))

lib.write_gds('Cascode_DegInd_CBias_Sym_Res_tb.gds')
